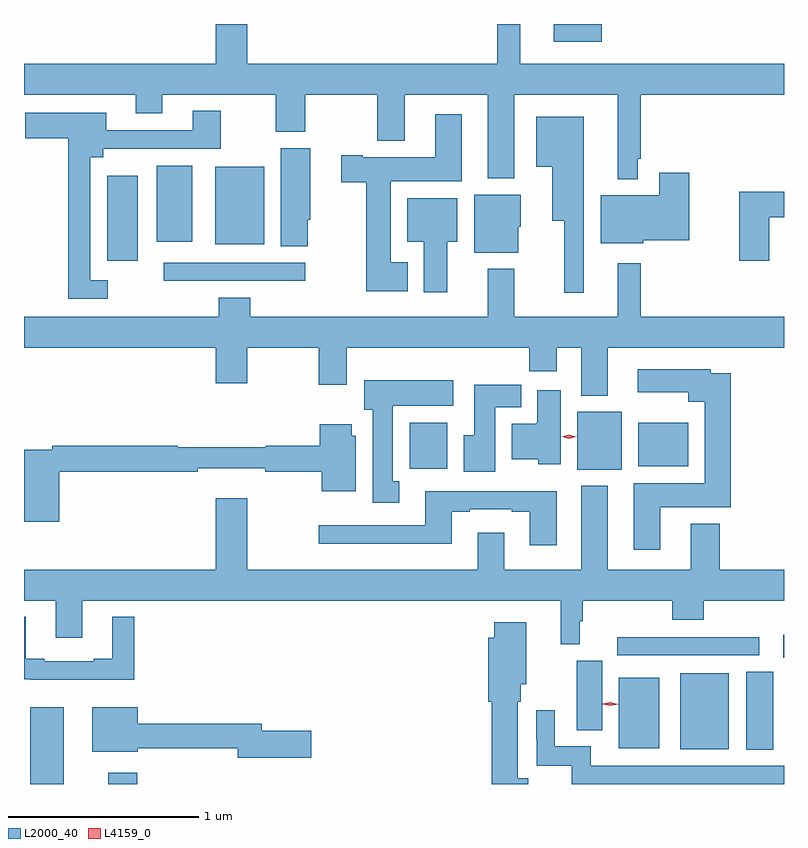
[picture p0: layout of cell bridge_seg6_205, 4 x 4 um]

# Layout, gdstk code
import gdstk
lib = gdstk.Library(unit=1e-6, precision=1e-09)
def R(c, l, rs):  # rectangles x0, y0, x1, y1
    for r in rs: c.add(gdstk.rectangle(r[:2], r[2:], *l))
def P(c, l, *ps):  # polygons
    for p in ps: c.add(gdstk.Polygon(p, *l))
L2000_40 = (2000, 40)
L4159_0 = (4159, 0)

bridge_seg6_205 = lib.new_cell('bridge_seg6_205')
R(bridge_seg6_205, L2000_40, [(211.982,937.048,212.158,937.453), (212.393,937.048,212.546,937.108), (215.75,937.228,215.893,937.64), (215.405,937.232,215.659,937.63), (215.081,937.235,215.293,937.606), (214.859,937.331,214.993,937.698), (215.945,937.713,215.95,937.834), (215.073,937.725,215.821,937.821), (214.862,938.702,215.095,939.007), (213.98,938.708,214.177,938.95), (215.183,938.72,215.446,938.95), (212.685,939.696,213.43,939.792), (212.387,939.801,212.548,940.249), (212.957,939.89,213.214,940.297), (212.648,939.902,212.836,940.303), (214.739,940.955,214.99,941.048)])
P(bridge_seg6_205, L2000_40, [(215.179,940.339),(215.197,940.339),(215.197,940.676),(215.95,940.676),(215.95,940.84),(214.561,940.84),(214.561,941.048),(214.44,941.048),(214.44,940.84),(213.124,940.84),(213.124,941.048),(212.96,941.048),(212.96,940.84),(211.95,940.84),(211.95,940.676),(212.537,940.676),(212.537,940.577),(212.677,940.577),(212.677,940.676),(213.274,940.676),(213.274,940.482),(213.429,940.482),(213.429,940.676),(213.808,940.676),(213.808,940.433),(213.955,940.433),(213.955,940.676),(214.391,940.676),(214.391,940.235),(214.531,940.235),(214.531,940.676),(215.075,940.676),(215.075,940.232),(215.179,940.232)],
  [(212.392,939.699),(212.298,939.699),(212.298,940.346),(212.368,940.346),(212.368,940.392),(212.985,940.392),(212.985,940.591),(212.837,940.591),(212.837,940.488),(212.383,940.488),(212.383,940.582),(211.956,940.582),(211.956,940.448),(212.182,940.448),(212.182,939.603),(212.392,939.603)],
  [(213.97,939.793),(213.88,939.793),(213.88,940.22),(214.255,940.22),(214.255,940.573),(214.115,940.573),(214.115,940.348),(213.733,940.348),(213.733,940.356),(213.621,940.356),(213.621,940.214),(213.751,940.214),(213.751,939.641),(213.97,939.641)],
  [(214.897,940.561),(214.646,940.561),(214.646,940.298),(214.73,940.298),(214.73,940.013),(214.793,940.013),(214.793,939.633),(214.897,939.633)],
  [(213.444,940.017),(213.457,940.017),(213.457,940.393),(213.302,940.393),(213.302,939.877),(213.444,939.877)],
  [(215.208,939.911),(215.452,939.911),(215.452,940.264),(215.294,940.264),(215.294,940.147),(214.985,940.147),(214.985,939.893),(215.208,939.893)],
  [(215.872,940.031),(215.95,940.031),(215.95,940.166),(215.714,940.166),(215.714,939.801),(215.872,939.801)],
  [(214.552,939.981),(214.564,939.981),(214.564,940.15),(214.319,940.15),(214.319,939.845),(214.552,939.845)],
  [(214.177,939.902),(214.231,939.902),(214.231,940.132),(213.968,940.132),(213.968,939.902),(214.055,939.902),(214.055,939.636),(214.177,939.636)],
  [(215.023,939.344),(215.95,939.344),(215.95,939.508),(215.197,939.508),(215.197,939.79),(215.075,939.79),(215.075,939.508),(214.531,939.508),(214.531,939.76),(214.391,939.76),(214.391,939.508),(213.14,939.508),(213.14,939.607),(212.975,939.607),(212.975,939.508),(211.95,939.508),(211.95,939.344),(212.96,939.344),(212.96,939.156),(213.124,939.156),(213.124,939.344),(213.502,939.344),(213.502,939.15),(213.649,939.15),(213.649,939.344),(214.609,939.344),(214.609,939.22),(214.753,939.22),(214.753,939.344),(214.883,939.344),(214.883,939.092),(215.023,939.092)],
  [(215.299,938.504),(215.669,938.504),(215.669,939.211),(215.565,939.211),(215.565,939.232),(215.181,939.232),(215.181,939.11),(215.447,939.11),(215.447,939.059),(215.534,939.059),(215.534,938.632),(215.159,938.632),(215.159,938.28),(215.299,938.28)],
  [(213.925,938.642),(213.892,938.642),(213.892,939.038),(214.21,939.038),(214.21,939.172),(213.74,939.172),(213.74,939.018),(213.785,939.018),(213.785,938.529),(213.925,938.529)],
  [(214.429,939.032),(214.567,939.032),(214.567,939.15),(214.319,939.15),(214.319,938.884),(214.265,938.884),(214.265,938.691),(214.429,938.691)],
  [(214.774,939.121),(214.652,939.121),(214.652,938.95),(214.646,938.95),(214.646,938.944),(214.517,938.944),(214.517,938.756),(214.656,938.756),(214.656,938.732),(214.774,938.732)],
  [(212.135,938.692),(212.864,938.692),(212.864,938.711),(213.22,938.711),(213.22,938.692),(213.518,938.692),(213.518,938.588),(213.697,938.588),(213.697,938.88),(213.676,938.88),(213.676,938.941),(213.506,938.941),(213.506,938.828),(213.222,938.828),(213.222,938.821),(212.76,938.821),(212.76,938.828),(212.098,938.828),(212.098,938.808),(211.952,938.808),(211.952,938.427),(212.135,938.427)],
  [(215.459,938.176),(215.023,938.176),(215.023,938.617),(214.883,938.617),(214.883,938.176),(214.477,938.176),(214.477,938.371),(214.337,938.371),(214.337,938.176),(213.124,938.176),(213.124,938.551),(212.96,938.551),(212.96,938.176),(211.95,938.176),(211.95,938.012),(212.117,938.012),(212.117,937.818),(212.257,937.818),(212.257,938.012),(214.775,938.012),(214.775,937.783),(214.874,937.783),(214.874,937.904),(214.892,937.904),(214.892,938.012),(215.363,938.012),(215.363,937.913),(215.528,937.913),(215.528,938.012),(215.95,938.012),(215.95,938.176),(215.612,938.176),(215.612,938.419),(215.459,938.419)],
  [(214.753,938.59),(214.525,938.59),(214.525,938.589),(214.061,938.589),(214.061,938.409),(213.501,938.409),(213.501,938.312),(214.201,938.312),(214.201,938.481),(214.297,938.481),(214.297,938.493),(214.517,938.493),(214.517,938.481),(214.613,938.481),(214.613,938.304),(214.753,938.304)],
  [(212.531,937.927),(212.414,937.927),(212.414,937.708),(212.318,937.708),(212.318,937.695),(212.056,937.695),(212.056,937.708),(211.96,937.708),(211.96,937.927),(211.95,937.927),(211.95,937.599),(211.986,937.599),(211.986,937.598),(212.531,937.598)],
  [(214.603,937.077),(214.549,937.077),(214.549,937.482),(214.564,937.482),(214.564,937.574),(214.594,937.574),(214.594,937.9),(214.424,937.9),(214.424,937.818),(214.394,937.818),(214.394,937.482),(214.412,937.482),(214.412,937.048),(214.603,937.048)],
  [(213.463,937.328),(213.202,937.328),(213.202,937.364),(212.548,937.364),(212.548,937.453),(212.309,937.453),(212.309,937.217),(212.548,937.217),(212.548,937.236),(213.074,937.236),(213.074,937.186),(213.463,937.186)],
  [(215.95,937.143),(214.933,937.143),(214.933,937.246),(214.743,937.246),(214.743,937.435),(214.647,937.435),(214.647,937.284),(214.648,937.284),(214.648,937.144),(214.834,937.144),(214.834,937.048),(215.95,937.048)])
P(bridge_seg6_205, L4159_0, [(214.818,938.865),(214.779,938.875),(214.779,938.875),(214.779,938.875),(214.818,938.885),(214.856,938.875),(214.856,938.875),(214.856,938.875)],
  [(215.036,937.459),(214.995,937.469),(214.995,937.47),(214.995,937.47),(215.036,937.479),(215.077,937.468),(215.077,937.468),(215.077,937.468)])

lib.write_gds('bridge_seg6_205.gds')
